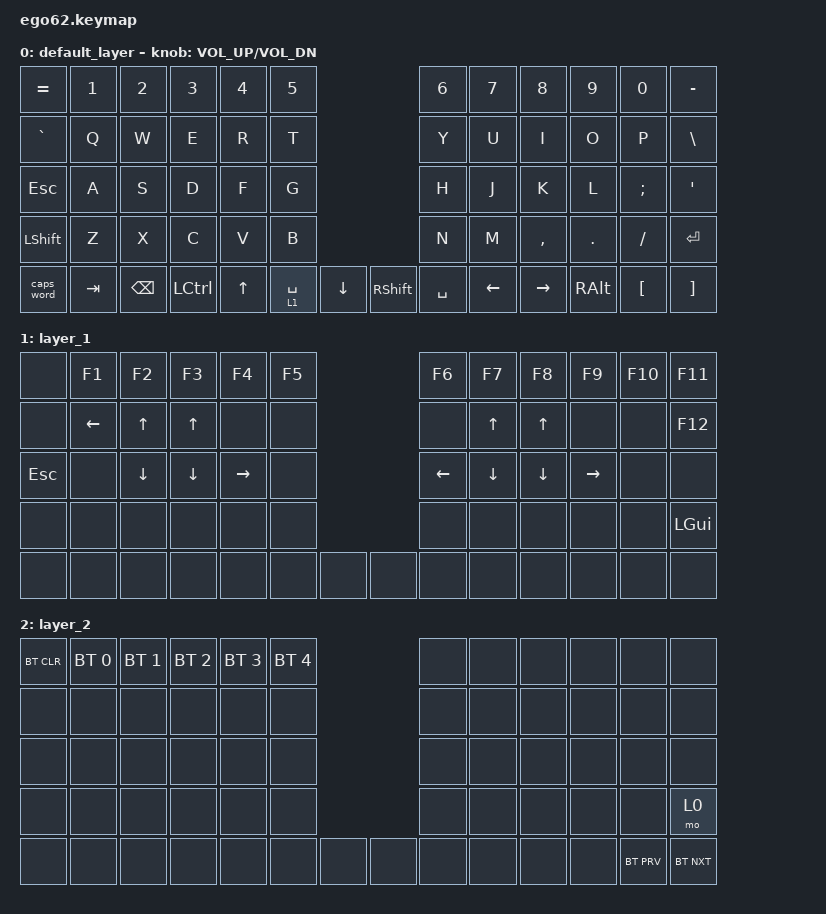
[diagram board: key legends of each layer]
/*
 * Copyright (c) 2020 The ZMK Contributors
 *
 * SPDX-License-Identifier: MIT
 */

#include <behaviors.dtsi>
#include <dt-bindings/zmk/bt.h>
#include <dt-bindings/zmk/keys.h>

/ {
    keymap {
        compatible = "zmk,keymap";

        default_layer {
            bindings = <
&kp EQUAL       &kp N1   &kp N2         &kp N3     &kp N4        &kp N5                                  &kp N6     &kp N7    &kp N8     &kp N9         &kp N0         &kp MINUS
&kp GRAVE       &kp Q    &kp W          &kp E      &kp R         &kp T                                   &kp Y      &kp U     &kp I      &kp O          &kp P          &kp BACKSLASH
&kp ESC         &kp A    &kp S          &kp D      &kp F         &kp G                                   &kp H      &kp J     &kp K      &kp L          &kp SEMICOLON  &kp SQT
&kp LEFT_SHIFT  &kp Z    &kp X          &kp C      &kp V         &kp B                                   &kp N      &kp M     &kp COMMA  &kp DOT        &kp FSLH       &kp ENTER
&caps_word      &kp TAB  &kp BACKSPACE  &kp LCTRL  &kp UP_ARROW  &lt 1 SPACE  &kp DOWN  &kp RIGHT_SHIFT  &kp SPACE  &kp LEFT  &kp RIGHT  &kp RIGHT_ALT  &kp LBKT       &kp RBKT
            >;

            sensor-bindings = <&inc_dec_kp C_VOL_UP C_VOL_DN>;
        };

        layer_1 {
            bindings = <
&none    &kp F1    &kp F2    &kp F3    &kp F4     &kp F5                &kp F6    &kp F7    &kp F8    &kp F9     &kp F10  &kp F11
&none    &kp LEFT  &kp UP    &kp UP    &none      &none                 &none     &kp UP    &kp UP    &none      &none    &kp F12
&kp ESC  &none     &kp DOWN  &kp DOWN  &kp RIGHT  &none                 &kp LEFT  &kp DOWN  &kp DOWN  &kp RIGHT  &none    &none
&none    &none     &none     &none     &none      &none                 &none     &none     &none     &none      &none    &kp LEFT_GUI
&none    &none     &none     &none     &none      &none   &none  &none  &none     &none     &none     &none      &none    &none
            >;
        };

        layer_2 {
            bindings = <
&bt BT_CLR  &bt BT_SEL 0  &bt BT_SEL 1  &bt BT_SEL 2  &bt BT_SEL 3  &bt BT_SEL 4                &none  &none  &none  &none  &none       &none
&none       &none         &none         &none         &none         &none                       &none  &none  &none  &none  &none       &none
&none       &none         &none         &none         &none         &none                       &none  &none  &none  &none  &none       &none
&none       &none         &none         &none         &none         &none                       &none  &none  &none  &none  &none       &mo 0
&none       &none         &none         &none         &none         &none         &none  &none  &none  &none  &none  &none  &bt BT_PRV  &bt BT_NXT
            >;
        };
    };
};
